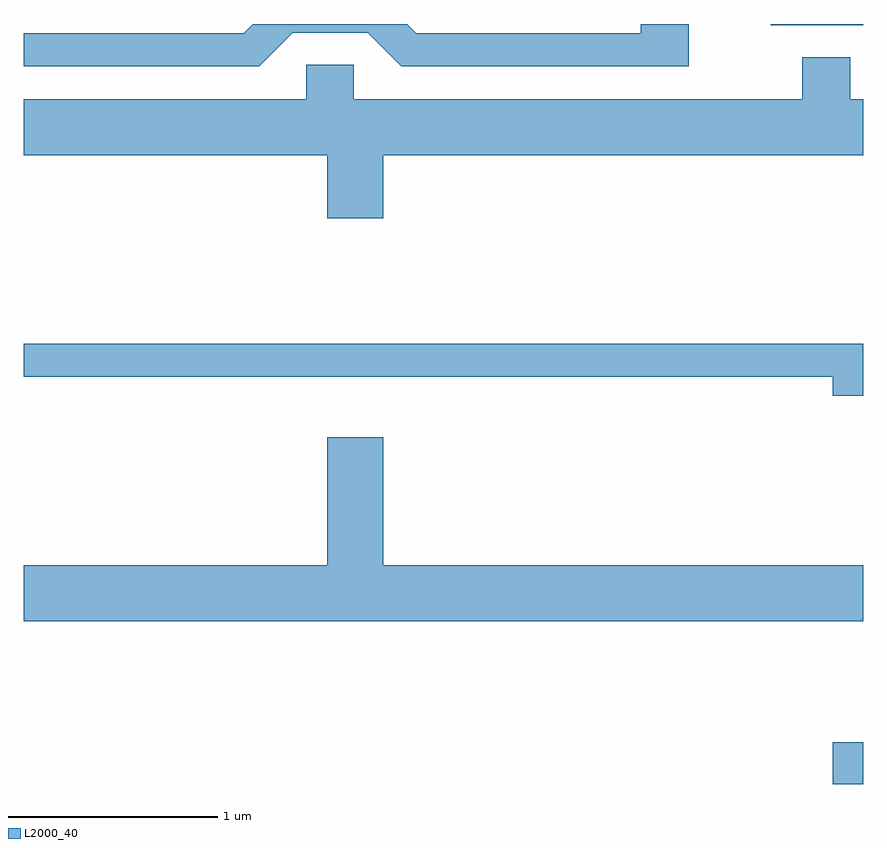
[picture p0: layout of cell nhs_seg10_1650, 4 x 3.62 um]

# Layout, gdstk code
import gdstk
lib = gdstk.Library(unit=1e-6, precision=1e-09)
def R(c, l, rs):  # rectangles x0, y0, x1, y1
    for r in rs: c.add(gdstk.rectangle(r[:2], r[2:], *l))
def P(c, l, *ps):  # polygons
    for p in ps: c.add(gdstk.Polygon(p, *l))
L2000_40 = (2000, 40)

nhs_seg10_1650 = lib.new_cell('nhs_seg10_1650')
R(nhs_seg10_1650, L2000_40, [(237.466,2130.901,237.611,2131.099), (237.171,2134.516,237.611,2134.522)])
P(nhs_seg10_1650, L2000_40, [(234.892,2134.481),(235.249,2134.481),(235.409,2134.321),(236.779,2134.321),(236.779,2134.522),(236.551,2134.522),(236.551,2134.479),(235.482,2134.479),(235.439,2134.522),(234.702,2134.522),(234.659,2134.479),(233.611,2134.479),(233.611,2134.321),(234.732,2134.321)],
  [(235.324,2133.896),(237.611,2133.896),(237.611,2134.164),(237.549,2134.164),(237.549,2134.364),(237.321,2134.364),(237.321,2134.164),(235.184,2134.164),(235.184,2134.329),(234.956,2134.329),(234.956,2134.164),(233.611,2134.164),(233.611,2133.896),(235.056,2133.896),(235.056,2133.596),(235.324,2133.596)],
  [(237.611,2132.999),(233.611,2132.999),(233.611,2132.841),(237.466,2132.841),(237.466,2132.751),(237.611,2132.751)],
  [(237.611,2131.944),(235.324,2131.944),(235.324,2132.554),(235.056,2132.554),(235.056,2131.944),(233.611,2131.944),(233.611,2131.676),(237.611,2131.676)])

lib.write_gds('nhs_seg10_1650.gds')
